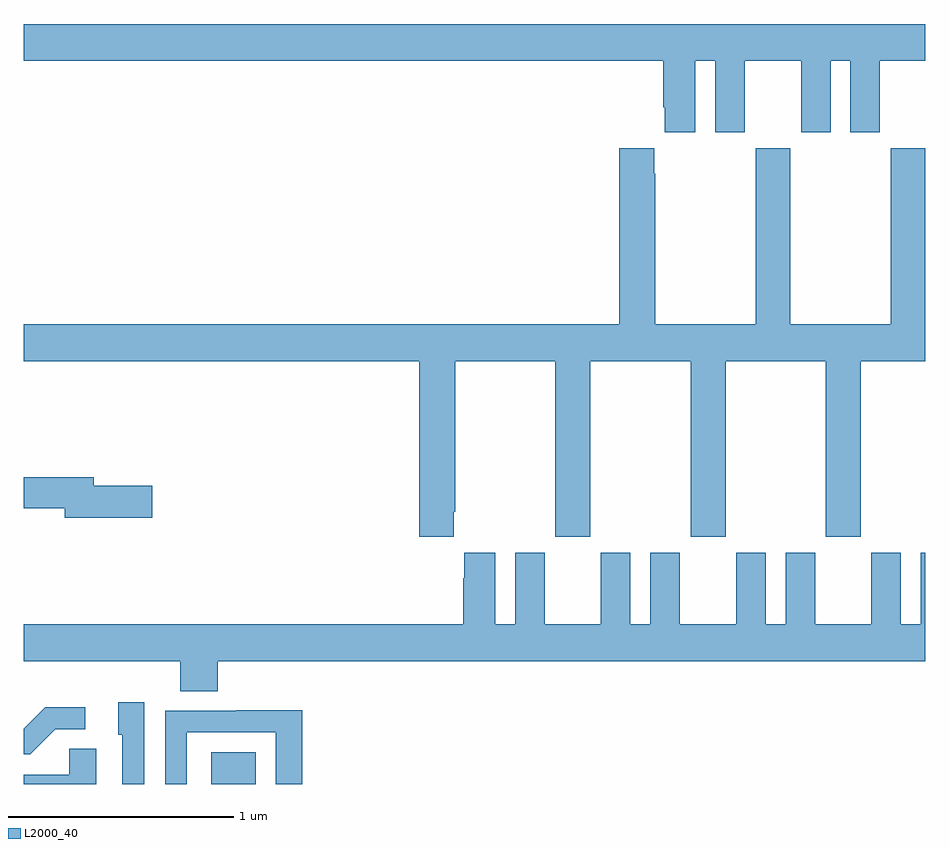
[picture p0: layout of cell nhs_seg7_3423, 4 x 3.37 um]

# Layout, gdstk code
import gdstk
lib = gdstk.Library(unit=1e-6, precision=1e-09)
def R(c, l, rs):  # rectangles x0, y0, x1, y1
    for r in rs: c.add(gdstk.rectangle(r[:2], r[2:], *l))
def P(c, l, *ps):  # polygons
    for p in ps: c.add(gdstk.Polygon(p, *l))
L2000_40 = (2000, 40)

nhs_seg7_3423 = lib.new_cell('nhs_seg7_3423')
R(nhs_seg7_3423, L2000_40, [(327.833,1072,328.03,1072.141)])
P(nhs_seg7_3423, L2000_40, [(329.98,1075.208),(330.068,1075.208),(330.068,1074.891),(330.199,1074.891),(330.199,1075.208),(330.449,1075.208),(330.449,1074.891),(330.58,1074.891),(330.58,1075.208),(330.668,1075.208),(330.668,1074.891),(330.799,1074.891),(330.799,1075.208),(331,1075.208),(331,1075.372),(327,1075.372),(327,1075.208),(329.837,1075.208),(329.837,1075.003),(329.843,1075.003),(329.843,1074.891),(329.98,1074.891)],
  [(328.909,1073.209),(328.914,1073.209),(328.914,1073.876),(329.359,1073.876),(329.359,1073.097),(329.514,1073.097),(329.514,1073.876),(329.959,1073.876),(329.959,1073.097),(330.114,1073.097),(330.114,1073.876),(330.559,1073.876),(330.559,1073.097),(330.714,1073.097),(330.714,1073.876),(331,1073.876),(331,1074.82),(330.847,1074.82),(330.847,1074.04),(330.402,1074.04),(330.402,1074.82),(330.247,1074.82),(330.247,1074.04),(329.802,1074.04),(329.802,1074.707),(329.797,1074.707),(329.797,1074.82),(329.642,1074.82),(329.642,1074.04),(327,1074.04),(327,1073.876),(328.754,1073.876),(328.754,1073.097),(328.909,1073.097)],
  [(327.571,1073.324),(327.31,1073.324),(327.31,1073.36),(327,1073.36),(327,1073.224),(327.182,1073.224),(327.182,1073.182),(327.571,1073.182)],
  [(327.86,1072.544),(331,1072.544),(331,1073.026),(330.98,1073.026),(330.98,1072.708),(330.892,1072.708),(330.892,1073.026),(330.761,1073.026),(330.761,1072.708),(330.511,1072.708),(330.511,1073.026),(330.38,1073.026),(330.38,1072.708),(330.292,1072.708),(330.292,1073.026),(330.161,1073.026),(330.161,1072.708),(329.911,1072.708),(329.911,1073.026),(329.78,1073.026),(329.78,1072.708),(329.692,1072.708),(329.692,1073.026),(329.561,1073.026),(329.561,1072.708),(329.311,1072.708),(329.311,1073.026),(329.18,1073.026),(329.18,1072.708),(329.092,1072.708),(329.092,1073.026),(328.955,1073.026),(328.955,1072.913),(328.949,1072.913),(328.949,1072.708),(327,1072.708),(327,1072.544),(327.695,1072.544),(327.695,1072.411),(327.86,1072.411)],
  [(327.534,1072.363),(327.419,1072.363),(327.419,1072.218),(327.438,1072.218),(327.438,1072),(327.534,1072)],
  [(327.139,1072.242),(327.274,1072.242),(327.274,1072.34),(327.095,1072.34),(327,1072.245),(327,1072.131),(327.028,1072.131)],
  [(327.723,1072.23),(328.119,1072.23),(328.119,1072),(328.235,1072),(328.235,1072.328),(327.943,1072.328),(327.943,1072.326),(327.627,1072.326),(327.627,1072),(327.723,1072)],
  [(327.322,1072.157),(327.201,1072.157),(327.201,1072.042),(327,1072.042),(327,1072),(327.322,1072)])

lib.write_gds('nhs_seg7_3423.gds')
